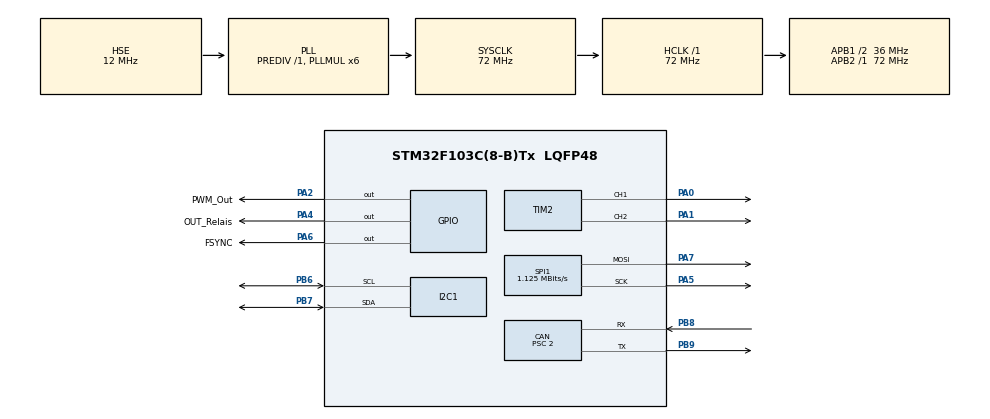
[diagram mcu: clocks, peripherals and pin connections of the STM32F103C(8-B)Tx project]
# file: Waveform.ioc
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CAN.BS1=CAN_BS1_14TQ
CAN.BS2=CAN_BS2_3TQ
CAN.CalculateBaudRate=1000000
CAN.CalculateTimeBit=999.99
CAN.CalculateTimeQuantum=55.55555555555556
CAN.Prescaler=2
Mcu.Family=STM32F1
Mcu.Name=STM32F103C(8-B)Tx
Mcu.Package=LQFP48
NVIC.PriorityGroup=NVIC_PRIORITYGROUP_4
NVIC.USB_LP_CAN1_RX0_IRQn=true\:0\:0\:false\:false\:true\:true\:true
PA0-WKUP.Signal=S_TIM2_CH1_ETR
PA1.Signal=S_TIM2_CH2
PA13.Mode=Serial_Wire
PA13.Signal=SYS_JTMS-SWDIO
PA14.Mode=Serial_Wire
PA14.Signal=SYS_JTCK-SWCLK
PA2.GPIO_Label=PWM_Out
PA2.Signal=GPIO_Output
PA4.GPIO_Label=OUT_Relais
PA4.Signal=GPIO_Output
PA5.Mode=TX_Only_Simplex_Unidirect_Master
PA5.Signal=SPI1_SCK
PA6.GPIO_Label=FSYNC
PA6.Signal=GPIO_Output
PA7.Mode=TX_Only_Simplex_Unidirect_Master
PA7.Signal=SPI1_MOSI
PB6.Mode=I2C
PB6.Signal=I2C1_SCL
PB7.Mode=I2C
PB7.Signal=I2C1_SDA
PB8.Mode=CAN_Activate
PB8.Signal=CAN_RX
PB9.Mode=CAN_Activate
PB9.Signal=CAN_TX
PD0-OSC_IN.Mode=HSE-External-Oscillator
PD0-OSC_IN.Signal=RCC_OSC_IN
PD1-OSC_OUT.Mode=HSE-External-Oscillator
PD1-OSC_OUT.Signal=RCC_OSC_OUT
ProjectManager.HeapSize=0x200
ProjectManager.StackSize=0x400
ProjectManager.TargetToolchain=Other Toolchains (GPDSC)
RCC.ADCPresc=RCC_ADCPCLK2_DIV6
RCC.AHBFreq_Value=72000000
RCC.APB1CLKDivider=RCC_HCLK_DIV2
RCC.APB1Freq_Value=36000000
RCC.APB1TimFreq_Value=72000000
RCC.APB2Freq_Value=72000000
RCC.APB2TimFreq_Value=72000000
RCC.HCLKFreq_Value=72000000
RCC.HSE_VALUE=12000000
RCC.PLLMUL=RCC_PLL_MUL6
RCC.PLLSourceVirtual=RCC_PLLSOURCE_HSE
RCC.SYSCLKFreq_VALUE=72000000
RCC.SYSCLKSource=RCC_SYSCLKSOURCE_PLLCLK
RCC.USBFreq_Value=72000000
SH.S_TIM2_CH1_ETR.0=TIM2_CH1,PWM Generation1 CH1
SH.S_TIM2_CH2.0=TIM2_CH2,PWM Generation2 CH2
SPI1.BaudRatePrescaler=SPI_BAUDRATEPRESCALER_64
SPI1.CalculateBaudRate=1.125 MBits/s
SPI1.DataSize=SPI_DATASIZE_8BIT
SPI1.Direction=SPI_DIRECTION_2LINES
SPI1.Mode=SPI_MODE_MASTER
SPI1.VirtualType=VM_MASTER
TIM1.Prescaler=72
TIM2.Channel-PWM\ Generation1\ CH1=TIM_CHANNEL_1
TIM2.Channel-PWM\ Generation2\ CH2=TIM_CHANNEL_2
VP_TIM1_VS_ClockSourceINT.Mode=Internal
VP_TIM2_VS_ClockSourceINT.Mode=Internal
VP_TIM3_VS_ClockSourceINT.Mode=Internal
board=custom

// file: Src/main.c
/* USER CODE BEGIN Header */
/**
  ******************************************************************************
  * @file           : main.c
  * @brief          : Main program body
  ******************************************************************************
  * @attention
  *
  * <h2><center>&copy; Copyright (c) 2023 STMicroelectronics.
  * All rights reserved.</center></h2>
  *
  * This software component is licensed by ST under BSD 3-Clause license,
  * the "License"; You may not use this file except in compliance with the
  * License. You may obtain a copy of the License at:
  *                        opensource.org/licenses/BSD-3-Clause
  *
  ******************************************************************************
  */
/* USER CODE END Header */
#include "main.h"
#include "can.h"
#include "i2c.h"
#include "spi.h"
#include "tim.h"
#include "gpio.h"

/* USER CODE BEGIN Includes */
#include "modlab.h"
#include "ad9833.h"
/* USER CODE END Includes */

/* USER CODE BEGIN PD */
#define PWM_V_SQUARE (float)779.8319328
#define SQUARE_OFFSET (0x0100 * 27 + 0x00FF)
#define PWM_V_SINE  (float)2645.180602
#define SINE_OFFSET (0x0100 * 30 + 0x00FF)
#define PWM_OFFSET_NULL 0x8210
#define PWM_OFFSET_STEP100 22*0x0010

/* USER CODE END PD */

/* USER CODE BEGIN PV */
uint16_t address;

uint8_t outputState = 0;
uint8_t setfreq = 0;

uint8_t waveform = wave_square;
uint16_t gain  = 0;
int16_t offset = 0;
uint32_t freq = 0;

// https://controllerstech.com/can-protocol-in-stm32/
CAN_TxHeaderTypeDef TxHeader;
CAN_RxHeaderTypeDef RxHeader;
uint8_t TxData[8];
uint32_t TxMailbox;
uint8_t RxData[8];
uint8_t stat = 0;

/* USER CODE END PV */

void SystemClock_Config(void);
/* USER CODE BEGIN PFP */
void setgain(uint8_t voltage);
void setoffset(int16_t os);
void CAN_Filter(uint8_t addr);
/* USER CODE END PFP */

int main(void)
{

  /* MCU Configuration--------------------------------------------------------*/

  /* Reset of all peripherals, Initializes the Flash interface and the Systick. */
  HAL_Init();

  /* Configure the system clock */
  SystemClock_Config();

  /* Initialize all configured peripherals */
  MX_GPIO_Init();
  MX_CAN_Init();
  MX_I2C1_Init();
  MX_SPI1_Init();
  MX_TIM1_Init();
  MX_TIM2_Init();
  MX_TIM3_Init();
  /* USER CODE BEGIN 2 */
  timer_init();

  HAL_CAN_Start(&hcan);

  // get address
  address = ADDR_WaveGen | (HAL_GPIO_ReadPin(GPIOB, GPIO_PIN_4)) | (HAL_GPIO_ReadPin(GPIOB, GPIO_PIN_3) << 1);

  HAL_GPIO_WritePin(OUT_Relais_GPIO_Port, OUT_Relais_Pin, 0);

  HAL_TIM_PWM_Start(&htim2, TIM_CHANNEL_1); // GAIN
  HAL_TIM_PWM_Start(&htim2, TIM_CHANNEL_2); // OFFSET

  CAN_Filter(address);
  HAL_CAN_ActivateNotification(&hcan, CAN_IT_RX_FIFO0_MSG_PENDING);
  __enable_irq();

  AD9833_Init(waveform, 0, 0);
  setgain(0);
  setoffset(0);

  /* USER CODE END 2 */

  /* Infinite loop */
  /* USER CODE BEGIN WHILE */
  while (1)
  {
    HAL_GPIO_WritePin(OUT_Relais_GPIO_Port, OUT_Relais_Pin, outputState);
    if(setfreq)
    {
      setfreq = 0;
      AD9833_Init(waveform, freq, 0);
    }

    setgain(gain);
    setoffset(offset);

    /* USER CODE END WHILE */

  }
}

void SystemClock_Config(void)
{
  RCC_OscInitTypeDef RCC_OscInitStruct = {0};
  RCC_ClkInitTypeDef RCC_ClkInitStruct = {0};

  /** Initializes the RCC Oscillators according to the specified parameters
  * in the RCC_OscInitTypeDef structure.
  */
  RCC_OscInitStruct.OscillatorType = RCC_OSCILLATORTYPE_HSE;
  RCC_OscInitStruct.HSEState = RCC_HSE_ON;
  RCC_OscInitStruct.HSEPredivValue = RCC_HSE_PREDIV_DIV1;
  RCC_OscInitStruct.HSIState = RCC_HSI_ON;
  RCC_OscInitStruct.PLL.PLLState = RCC_PLL_ON;
  RCC_OscInitStruct.PLL.PLLSource = RCC_PLLSOURCE_HSE;
  RCC_OscInitStruct.PLL.PLLMUL = RCC_PLL_MUL6;
  if (HAL_RCC_OscConfig(&RCC_OscInitStruct) != HAL_OK)
  {
    Error_Handler();
  }
  /** Initializes the CPU, AHB and APB buses clocks
  */
  RCC_ClkInitStruct.ClockType = RCC_CLOCKTYPE_HCLK|RCC_CLOCKTYPE_SYSCLK
                              |RCC_CLOCKTYPE_PCLK1|RCC_CLOCKTYPE_PCLK2;
  RCC_ClkInitStruct.SYSCLKSource = RCC_SYSCLKSOURCE_PLLCLK;
  RCC_ClkInitStruct.AHBCLKDivider = RCC_SYSCLK_DIV1;
  RCC_ClkInitStruct.APB1CLKDivider = RCC_HCLK_DIV2;
  RCC_ClkInitStruct.APB2CLKDivider = RCC_HCLK_DIV1;

  if (HAL_RCC_ClockConfig(&RCC_ClkInitStruct, FLASH_LATENCY_2) != HAL_OK)
  {
    Error_Handler();
  }
}

/* USER CODE BEGIN 4 */
void HAL_CAN_RxFifo0MsgPendingCallback(CAN_HandleTypeDef *hcan)
{
  if (HAL_CAN_GetRxMessage(hcan, CAN_RX_FIFO0, &RxHeader, RxData) != HAL_OK)
  {
    Error_Handler();
  }

  //Send Ping
  if (RxData[0] == CMD_PING)
  {
    send_rec(address, RxData[0], stat);
  }
  else if (RxData[0] == CMD_SET16) // set 16bit
  {
    switch (RxData[1])
    {
    case GAINOUT:
      gain = (RxData[2] << 8) | RxData[3];
      stat = 0;
      break;
    case OFFSETOUT:
      offset = (RxData[2] << 8) | RxData[3];
      stat = 0;
      break;
    default: // Index Mismatch
      stat = 1;
      break;
    }
    send_rec(address, RxData[0], stat);
  }
  else if (RxData[0] == CMD_SET32) // set 32bit
  {
    switch (RxData[1])
    {
    case FREQUENCY:
      freq = (RxData[2] << 24) | (RxData[3] << 16) | (RxData[4] << 8) | RxData[5];
      stat = 0;
      setfreq = 1;
      break;
    default: // Index Mismatch
      stat = 1;
      break;
    }
    send_rec(address, RxData[0], stat);
  }
  else if (RxData[0] == CMD_SETMODE) // set opmode waveform
  {
    switch (RxData[1])
    {
    case SQUAREWAVE:
      stat = 0;
      waveform = wave_square;
      setfreq = 1;
      break;
    case SINEWAVE:
      stat = 0;
      waveform = wave_sine;
      setfreq = 1;
      break;
    case TRIANGLEWAVE:
      stat = 0;
      waveform = wave_triangle;
      setfreq = 1;
      break;
    default: // Index Mismatch
      stat = 1;
      break;
    }
    send_rec(address, RxData[0], stat);
  }
  else if (RxData[0] == CMD_ENOUT || RxData[0] == CMD_DISOUT) // set Output
  {
    outputState = !(RxData[0] & 0x01);
    stat = 0;
    send_rec(address, RxData[0], stat);
  }
  else // Unknown Command
  {
    stat = 0x40;
    send_rec(address, RxData[0], stat);
  }
}

void CAN_Filter(uint8_t addr)
{
  CAN_FilterTypeDef canfilterconfig;

  canfilterconfig.FilterActivation = CAN_FILTER_ENABLE;
  canfilterconfig.FilterBank = 0; // which filter bank to use from the assigned ones
  canfilterconfig.FilterFIFOAssignment = CAN_FILTER_FIFO0;
  canfilterconfig.FilterIdHigh = (0x500 | addr) << 5;
  canfilterconfig.FilterIdLow = 0;
  canfilterconfig.FilterMaskIdHigh = 0x1FFF;
  canfilterconfig.FilterMaskIdLow = 0xFFFF;
  canfilterconfig.FilterMode = CAN_FILTERMODE_IDMASK;
  canfilterconfig.FilterScale = CAN_FILTERSCALE_32BIT;
  canfilterconfig.SlaveStartFilterBank = 1; // how many filters to assign to the CAN1 (master can)

  HAL_CAN_ConfigFilter(&hcan, &canfilterconfig);
}

void setgain(uint8_t voltage)
{
  switch (waveform)
  {
  case wave_square:
    TIM2->CCR1 = ((uint16_t)(((float)(voltage-4)/10.0) * PWM_V_SQUARE)) + SQUARE_OFFSET;
    break;
  case wave_sine:
  case wave_triangle:
    TIM2->CCR1 = ((uint16_t)(((float)(voltage)/10.0) * PWM_V_SINE)) + SINE_OFFSET;
    break;
  default:
    break;
  }
}

void setoffset(int16_t os)
{
  TIM2->CCR2 = PWM_OFFSET_NULL - (os * PWM_OFFSET_STEP100);
}

/* USER CODE END 4 */

void Error_Handler(void)
{
  __disable_irq();
  while (1)
  {
  }
}

/************************ (C) COPYRIGHT STMicroelectronics *****END OF FILE****/
